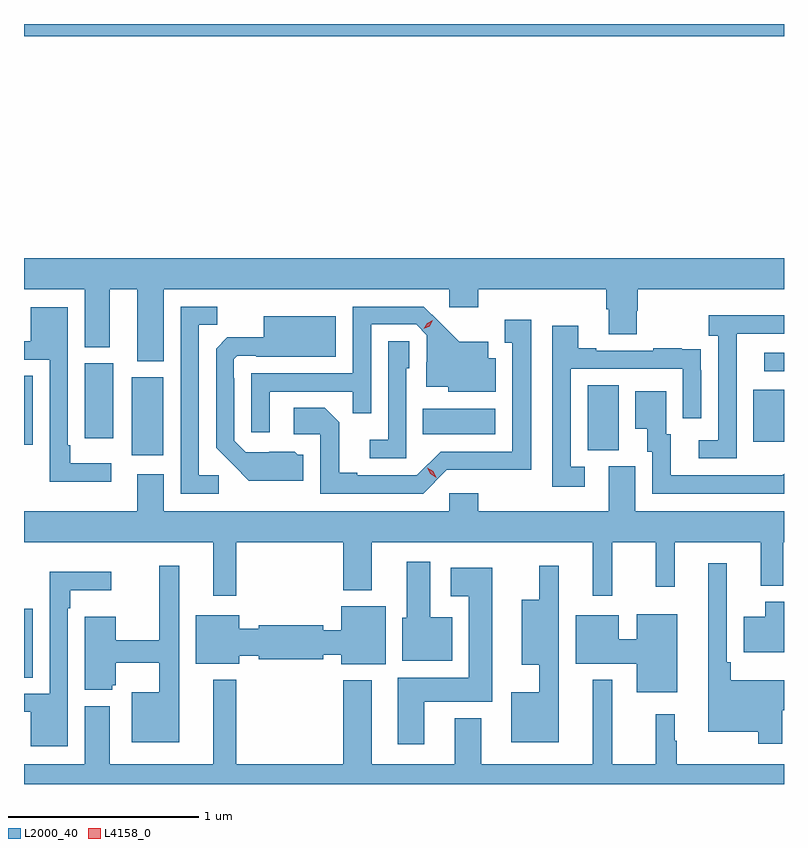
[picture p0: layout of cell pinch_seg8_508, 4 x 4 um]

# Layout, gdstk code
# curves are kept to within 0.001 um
import gdstk
lib = gdstk.Library(unit=1e-6, precision=1e-09)
def R(c, l, rs):  # rectangles x0, y0, x1, y1
    for r in rs: c.add(gdstk.rectangle(r[:2], r[2:], *l))
def P(c, l, *ps):  # polygons
    for p in ps: c.add(gdstk.Polygon(p, *l))
L2000_40 = (2000, 40)
L4158_0 = (4158, 0)

pinch_seg8_508 = lib.new_cell('pinch_seg8_508')
R(pinch_seg8_508, L2000_40, [(189.882,1114.456,189.928,1114.819), (190.448,1115.625,190.615,1116.037), (192.848,1115.653,193.012,1115.996), (189.882,1115.682,189.928,1116.044), (193.721,1115.697,193.882,1115.971), (190.202,1115.715,190.351,1116.111), (191.98,1115.738,192.361,1115.872), (193.779,1116.069,193.882,1116.165), (189.882,1117.832,193.882,1117.896)])
P(pinch_seg8_508, L2000_40, [(190.618,1116.5),(192.12,1116.5),(192.12,1116.405),(192.272,1116.405),(192.272,1116.5),(192.947,1116.5),(192.947,1116.394),(192.959,1116.394),(192.959,1116.262),(193.107,1116.262),(193.107,1116.387),(193.112,1116.387),(193.112,1116.5),(193.882,1116.5),(193.882,1116.664),(189.882,1116.664),(189.882,1116.5),(190.202,1116.5),(190.202,1116.196),(190.333,1116.196),(190.333,1116.5),(190.478,1116.5),(190.478,1116.122),(190.618,1116.122)],
  [(190.906,1115.52),(190.803,1115.52),(190.803,1116.313),(190.899,1116.313),(190.899,1116.408),(190.707,1116.408),(190.707,1115.424),(190.906,1115.424)],
  [(191.175,1115.961),(191.611,1115.961),(191.611,1115.848),(191.709,1115.848),(191.709,1116.315),(191.946,1116.315),(192.003,1116.258),(192.003,1116.116),(191.999,1116.116),(191.999,1115.987),(192.114,1115.987),(192.114,1115.96),(192.364,1115.96),(192.364,1116.136),(192.325,1116.136),(192.325,1116.223),(192.173,1116.223),(191.986,1116.408),(191.613,1116.408),(191.613,1116.057),(191.079,1116.057),(191.079,1115.748),(191.175,1115.748)],
  [(190.342,1115.584),(190.126,1115.584),(190.126,1115.68),(190.113,1115.68),(190.113,1116.406),(189.917,1116.406),(189.917,1116.225),(189.882,1116.225),(189.882,1116.129),(190.017,1116.129),(190.017,1115.486),(190.342,1115.486)],
  [(193.632,1116.067),(193.633,1116.067),(193.633,1116.267),(193.882,1116.267),(193.882,1116.364),(193.485,1116.364),(193.485,1116.254),(193.536,1116.254),(193.536,1115.706),(193.434,1115.706),(193.434,1115.61),(193.632,1115.61)],
  [(191.353,1115.628),(191.322,1115.628),(191.306,1115.644),(191.049,1115.643),(190.989,1115.703),(190.989,1116.032),(190.986,1116.032),(190.986,1116.132),(191.004,1116.15),(191.104,1116.15),(191.104,1116.146),(191.524,1116.146),(191.524,1116.358),(191.144,1116.358),(191.144,1116.247),(190.952,1116.247),(190.893,1116.188),(190.893,1115.666),(191.065,1115.492),(191.353,1115.492)],
  [(192.108,1115.55),(192.553,1115.549),(192.553,1116.34),(192.413,1116.34),(192.413,1116.219),(192.452,1116.219),(192.452,1115.646),(192.075,1115.646),(191.949,1115.52),(191.635,1115.52),(191.635,1115.533),(191.541,1115.533),(191.541,1115.8),(191.465,1115.876),(191.301,1115.876),(191.301,1115.736),(191.442,1115.736),(191.442,1115.424),(191.982,1115.424)],
  [(192.832,1115.565),(192.759,1115.565),(192.759,1116.081),(193.35,1116.081),(193.35,1115.82),(193.446,1115.82),(193.446,1116.074),(193.445,1116.074),(193.445,1116.183),(193.343,1116.183),(193.343,1116.19),(193.195,1116.19),(193.195,1116.177),(192.895,1116.177),(192.895,1116.19),(192.799,1116.19),(192.799,1116.307),(192.663,1116.307),(192.663,1115.46),(192.832,1115.46)],
  [(191.895,1116.084),(191.91,1116.084),(191.91,1116.227),(191.799,1116.227),(191.799,1115.707),(191.703,1115.707),(191.703,1115.61),(191.895,1115.61)],
  [(193.882,1115.53),(193.873,1115.521),(193.285,1115.52),(193.285,1115.736),(193.261,1115.736),(193.261,1115.962),(193.1,1115.962),(193.1,1115.765),(193.163,1115.765),(193.163,1115.646),(193.188,1115.646),(193.188,1115.424),(193.882,1115.424)],
  [(190.999,1115.168),(191.561,1115.168),(191.561,1114.916),(191.713,1114.916),(191.713,1115.168),(192.875,1115.168),(192.875,1114.887),(192.979,1114.887),(192.979,1115.168),(193.207,1115.168),(193.207,1114.935),(193.307,1114.935),(193.307,1115.168),(193.76,1115.168),(193.76,1114.94),(193.877,1114.94),(193.877,1115.168),(193.882,1115.168),(193.882,1115.332),(193.099,1115.332),(193.099,1115.568),(192.959,1115.568),(192.959,1115.332),(192.272,1115.332),(192.272,1115.425),(192.12,1115.425),(192.12,1115.332),(190.618,1115.332),(190.618,1115.527),(190.478,1115.527),(190.478,1115.332),(189.882,1115.332),(189.882,1115.168),(190.877,1115.168),(190.877,1114.887),(190.999,1114.887)],
  [(192.136,1114.774),(192.019,1114.774),(192.019,1115.065),(191.897,1115.065),(191.897,1114.77),(191.873,1114.77),(191.873,1114.544),(192.136,1114.544)],
  [(193.874,1114.283),(193.882,1114.283),(193.882,1114.441),(193.601,1114.441),(193.601,1114.537),(193.581,1114.537),(193.581,1115.059),(193.484,1115.059),(193.484,1114.172),(193.746,1114.172),(193.746,1114.107),(193.874,1114.107)],
  [(190.699,1115.044),(190.595,1115.044),(190.595,1114.652),(190.366,1114.652),(190.366,1114.777),(190.202,1114.777),(190.202,1114.391),(190.347,1114.391),(190.347,1114.416),(190.366,1114.416),(190.366,1114.535),(190.595,1114.535),(190.595,1114.378),(190.448,1114.378),(190.448,1114.115),(190.699,1114.115)],
  [(192.697,1115.044),(192.593,1115.044),(192.593,1114.867),(192.503,1114.867),(192.503,1114.523),(192.593,1114.523),(192.593,1114.378),(192.446,1114.378),(192.446,1114.115),(192.697,1114.115)],
  [(191.989,1114.328),(192.346,1114.328),(192.346,1115.035),(192.129,1115.035),(192.129,1114.883),(192.224,1114.883),(192.224,1114.456),(191.849,1114.456),(191.849,1114.104),(191.989,1114.104)],
  [(190.113,1114.82),(190.126,1114.82),(190.126,1114.916),(190.342,1114.916),(190.342,1115.014),(190.017,1115.014),(190.017,1114.371),(189.882,1114.371),(189.882,1114.275),(189.917,1114.275),(189.917,1114.094),(190.113,1114.094)],
  [(193.882,1114.855),(193.784,1114.855),(193.784,1114.777),(193.67,1114.777),(193.67,1114.589),(193.882,1114.589)],
  [(191.785,1114.831),(191.552,1114.831),(191.552,1114.705),(191.458,1114.705),(191.458,1114.731),(191.118,1114.731),(191.118,1114.713),(191.014,1114.713),(191.014,1114.783),(190.787,1114.783),(190.787,1114.529),(191.014,1114.529),(191.014,1114.571),(191.118,1114.571),(191.118,1114.553),(191.458,1114.553),(191.458,1114.576),(191.552,1114.576),(191.552,1114.526),(191.785,1114.526)],
  [(193.321,1114.789),(193.106,1114.789),(193.106,1114.658),(193.012,1114.658),(193.012,1114.783),(192.785,1114.783),(192.785,1114.529),(193.106,1114.529),(193.106,1114.379),(193.321,1114.379)],
  [(193.882,1114),(193.318,1114),(193.318,1114.124),(193.306,1114.124),(193.306,1114.264),(193.207,1114.264),(193.207,1114),(192.979,1114),(192.979,1114.444),(192.875,1114.444),(192.875,1114),(192.289,1114),(192.289,1114.243),(192.149,1114.243),(192.149,1114),(191.713,1114),(191.713,1114.441),(191.561,1114.441),(191.561,1114),(190.999,1114),(190.999,1114.444),(190.877,1114.444),(190.877,1114),(190.333,1114),(190.333,1114.306),(190.202,1114.306),(190.202,1114),(189.882,1114),(189.882,1113.896),(193.882,1113.896)])
P(pinch_seg8_508, L4158_0, [(192.052,1115.509),(192.021,1115.528),(192.004,1115.561),(192.004,1115.561),(192.005,1115.561),(192.036,1115.542),(192.053,1115.509),(192.053,1115.509)],
  [(191.987,1116.291),(191.987,1116.291),(192.004,1116.32),(192.034,1116.336),(192.034,1116.336),(192.034,1116.336),(192.018,1116.306),(191.987,1116.291)])

lib.write_gds('pinch_seg8_508.gds')
